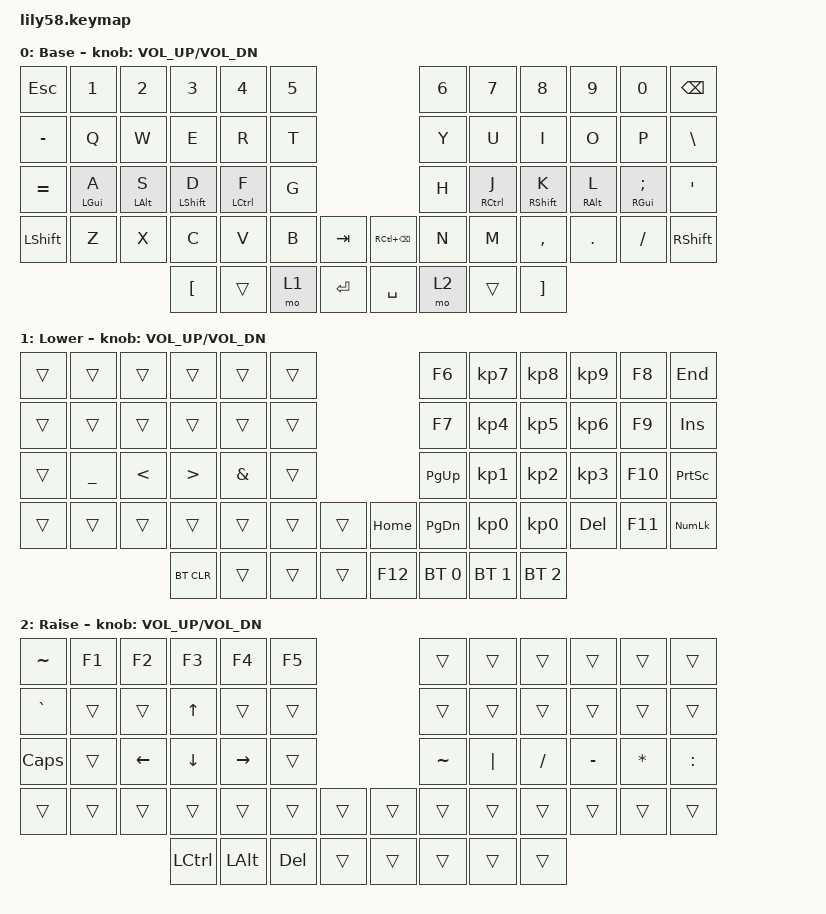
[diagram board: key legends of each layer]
/*
 * Copyright (c) 2020 The ZMK Contributors
 *
 * SPDX-License-Identifier: MIT
 */

#include <behaviors.dtsi>
#include <dt-bindings/zmk/bt.h>
#include <dt-bindings/zmk/keys.h>

/ {
    behaviors {
        hold_tap: hold_tap {
            compatible = "zmk,behavior-hold-tap";
            label = "HOLD_TAP";
            bindings = <&kp>, <&kp>;

            #binding-cells = <2>;
            tapping-term-ms = <350>;
            flavor = "tap-preferred";
        };
    };

    keymap {
        compatible = "zmk,keymap";

        default_layer {
            // ------------------------------------------------------------------------------------------------------------
            // |  ESC  |  1  |  2  |  3   |  4   |  5   |                   |  6   |  7    |  8    |  9   |   0   |   `   |
            // |  TAB  |  Q  |  W  |  E   |  R   |  T   |                   |  Y   |  U    |  I    |  O   |   P   |   -   |
            // |  CTRL |  A  |  S  |  D   |  F   |  G   |                   |  H   |  J    |  K    |  L   |   ;   |   '   |
            // | SHIFT |  Z  |  X  |  C   |  V   |  B   |   "["  |  |  "]"  |  N   |  M    |  ,    |  .   |   /   | SHIFT |
            //                     | ALT  | GUI  | LOWER|  SPACE |  | ENTER | RAISE| BSPC  | GUI   |

            display-name = "Base";
            bindings = <
&kp ESC    &kp N1                &kp N2                &kp N3                  &kp N4                    &kp N5                                &kp N6  &kp N7                     &kp N8                   &kp N9                 &kp N0                         &kp BACKSPACE
&kp MINUS  &kp Q                 &kp W                 &kp E                   &kp R                     &kp T                                 &kp Y   &kp U                      &kp I                    &kp O                  &kp P                          &kp BACKSLASH
&kp EQUAL  &hold_tap LEFT_GUI A  &hold_tap LEFT_ALT S  &hold_tap LEFT_SHIFT D  &hold_tap LEFT_CONTROL F  &kp G                                 &kp H   &hold_tap RIGHT_CONTROL J  &hold_tap RIGHT_SHIFT K  &hold_tap RIGHT_ALT L  &hold_tap RIGHT_GUI SEMICOLON  &kp SQT
&kp LSHFT  &kp Z                 &kp X                 &kp C                   &kp V                     &kp B   &kp TAB    &kp RC(BACKSPACE)  &kp N   &kp M                      &kp COMMA                &kp DOT                &kp FSLH                       &kp RSHFT
                                                       &kp LEFT_BRACKET        &trans                    &mo 1   &kp RET    &kp SPACE          &mo 2   &trans                     &kp RIGHT_BRACKET
            >;

            sensor-bindings = <&inc_dec_kp C_VOL_UP C_VOL_DN>;
        };

        lower_layer {
            // ------------------------------------------------------------------------------------------------------------
            // | BTCLR | BT1 | BT2 |  BT3 |  BT4 |  BT5 |                   |      |       |       |      |       |       |
            // |  F1   |  F2 |  F3 |  F4  |  F5  |  F6  |                   |  F7  |  F8   |  F9   |  F10 |  F11  |  F12  |
            // |   `   |  !  |  @  |  #   |  $   |  %   |                   |  ^   |  &    |  *    |  (   |   )   |   ~   |
            // |       |     |     |      |      |      |        |  |       |      |  _    |  +    |  {   |   }   |  "|"  |
            //                     |      |      |      |        |  |       |      |       |       |

            display-name = "Lower";
            bindings = <
&trans  &trans     &trans         &trans            &trans    &trans                      &kp F6         &kp KP_NUMBER_7  &kp KP_NUMBER_8  &kp KP_NUMBER_9  &kp F8   &kp END
&trans  &trans     &trans         &trans            &trans    &trans                      &kp F7         &kp KP_NUMBER_4  &kp KP_NUMBER_5  &kp KP_NUMBER_6  &kp F9   &kp INS
&trans  &kp UNDER  &kp LESS_THAN  &kp GREATER_THAN  &kp AMPS  &trans                      &kp PAGE_UP    &kp KP_NUMBER_1  &kp KP_NUMBER_2  &kp KP_NUMBER_3  &kp F10  &kp PRINTSCREEN
&trans  &trans     &trans         &trans            &trans    &trans  &trans    &kp HOME  &kp PAGE_DOWN  &kp KP_NUMBER_0  &kp KP_NUMBER_0  &kp DELETE       &kp F11  &kp KP_NUMLOCK
                                  &bt BT_CLR        &trans    &trans  &trans    &kp F12   &bt BT_SEL 0   &bt BT_SEL 1     &bt BT_SEL 2
            >;

            sensor-bindings = <&inc_dec_kp C_VOL_UP C_VOL_DN>;
        };

        raise_layer {
            // ------------------------------------------------------------------------------------------------------------
            // |       |     |     |      |      |      |                   |      |       |       |      |       |       |
            // |   `   |  1  |  2  |  3   |  4   |  5   |                   |  6   |   7   |   8   |  9   |   0   |       |
            // |   F1  |  F2 |  F3 |  F4  |  F5  |  F6  |                   |      |   <-  |   v   |  ^   |  ->   |       |
            // |   F7  |  F8 |  F9 |  F10 |  F11 |  F12 |        |  |       |  +   |   -   |   =   |  [   |   ]   |   \   |
            //                     |      |      |      |        |  |       |      |       |       |

            display-name = "Raise";
            bindings = <
&kp TILDE     &kp F1  &kp F2          &kp F3          &kp F4        &kp F5                     &trans     &trans    &trans     &trans     &trans     &trans
&kp GRAVE     &trans  &trans          &kp UP_ARROW    &trans        &trans                     &trans     &trans    &trans     &trans     &trans     &trans
&kp CAPSLOCK  &trans  &kp LEFT_ARROW  &kp DOWN_ARROW  &kp RIGHT     &trans                     &kp TILDE  &kp PIPE  &kp SLASH  &kp MINUS  &kp ASTRK  &kp COLON
&trans        &trans  &trans          &trans          &trans        &trans   &trans    &trans  &trans     &trans    &trans     &trans     &trans     &trans
                                      &kp LCTRL       &kp LEFT_ALT  &kp DEL  &trans    &trans  &trans     &trans    &trans
            >;

            sensor-bindings = <&inc_dec_kp C_VOL_UP C_VOL_DN>;
        };

        extra_1 { status = "reserved"; };

        extra_2 { status = "reserved"; };

        extra_3 { status = "reserved"; };
    };
};
